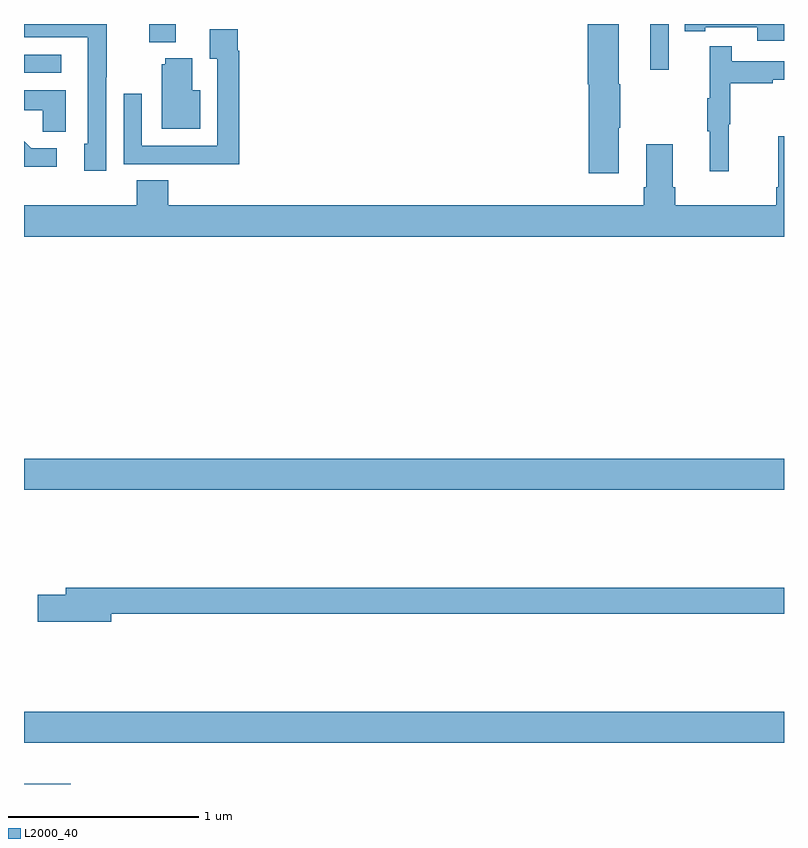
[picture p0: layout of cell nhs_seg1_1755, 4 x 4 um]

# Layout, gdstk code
import gdstk
lib = gdstk.Library(unit=1e-6, precision=1e-09)
def R(c, l, rs):  # rectangles x0, y0, x1, y1
    for r in rs: c.add(gdstk.rectangle(r[:2], r[2:], *l))
def P(c, l, *ps):  # polygons
    for p in ps: c.add(gdstk.Polygon(p, *l))
L2000_40 = (2000, 40)

nhs_seg1_1755 = lib.new_cell('nhs_seg1_1755')
R(nhs_seg1_1755, L2000_40, [(207,534.199,207.245,534.2), (207,534.416,211,534.58), (207,535.748,211,535.912), (207,537.942,207.196,538.038), (210.296,537.957,210.393,538.199), (207.659,538.103,207.799,538.199)])
P(nhs_seg1_1755, L2000_40, [(207.432,537.919),(207.435,537.919),(207.435,538.199),(207,538.199),(207,538.128),(207.336,538.128),(207.336,537.57),(207.317,537.57),(207.317,537.426),(207.432,537.426)],
  [(210.13,537.652),(210.138,537.652),(210.138,537.882),(210.13,537.882),(210.13,538.199),(209.966,538.199),(209.966,537.882),(209.972,537.882),(209.972,537.414),(210.13,537.414)],
  [(211,538.199),(210.478,538.199),(210.478,538.162),(210.586,538.162),(210.586,538.182),(210.858,538.182),(210.858,538.11),(211,538.11)],
  [(208.133,538.058),(208.126,538.058),(208.126,538.171),(207.977,538.171),(207.977,538.015),(208.017,538.015),(208.017,537.558),(207.621,537.558),(207.621,537.832),(207.525,537.832),(207.525,537.462),(207.841,537.462),(207.841,537.461),(208.133,537.461)],
  [(210.71,537.672),(210.718,537.672),(210.718,537.886),(210.941,537.886),(210.941,537.906),(211,537.906),(211,538.002),(210.725,538.002),(210.725,538.081),(210.608,538.081),(210.608,537.809),(210.597,537.809),(210.597,537.635),(210.608,537.635),(210.608,537.423),(210.71,537.423)],
  [(207.928,537.85),(207.886,537.85),(207.886,538.018),(207.743,538.018),(207.743,537.987),(207.725,537.987),(207.725,537.647),(207.928,537.647)],
  [(207.22,537.85),(207,537.85),(207,537.746),(207.099,537.746),(207.099,537.631),(207.22,537.631)],
  [(211,537.607),(210.971,537.607),(210.971,537.34),(210.959,537.34),(210.959,537.244),(210.428,537.244),(210.428,537.34),(210.415,537.34),(210.415,537.565),(210.275,537.565),(210.275,537.34),(210.263,537.34),(210.263,537.244),(207.758,537.244),(207.758,537.377),(207.593,537.377),(207.593,537.244),(207,537.244),(207,537.08),(211,537.08)],
  [(207.172,537.546),(207.037,537.546),(207,537.583),(207,537.449),(207.172,537.449)],
  [(207.46,535.096),(211,535.096),(211,535.232),(207.221,535.232),(207.221,535.196),(207.072,535.196),(207.072,535.054),(207.46,535.054)])

lib.write_gds('nhs_seg1_1755.gds')
